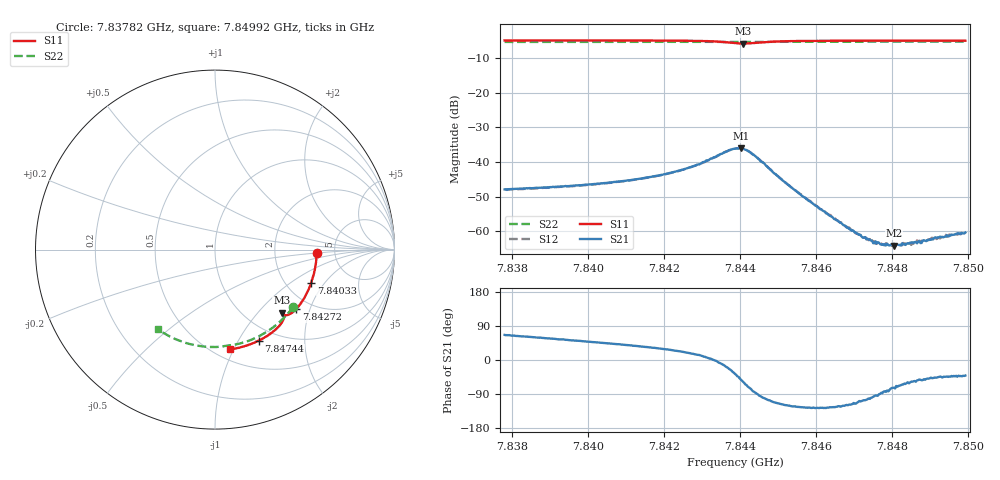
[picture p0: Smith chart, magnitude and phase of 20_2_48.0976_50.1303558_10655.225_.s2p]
#  HZ  S  RI  R  50.00
! Rohde & Schwarz Vector Network Analyzer
! Rohde-Schwarz,ZNB20-2Port,1311601062101988,3.16
! Created: UTC 12/23/2023, 3:36:34 AM
! freq[Hz]  re:S11  im:S11  re:S21  im:S21  re:S12  im:S12  re:S22  im:S22
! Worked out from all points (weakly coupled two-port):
!   401 points, 7.83782 GHz to 7.84992 GHz, reference 50 ohm
!   highest |S21| = -35.97 dB at 7.84402 GHz (marker M1); lowest = -64.1 dB at 7.84805 GHz (marker M2)
!   lowest |S11| = -5.8 dB at 7.84408 GHz (marker M3), VSWR 3.10, Z = 71.3 - j67.9 ohm
!   |S11| at or under -10 dB: nowhere
!   |S22| runs from -5.4 to -5.3 dB; largest |S21 - S12| = 0.00031
!   S11 on the Smith chart (normalised r, x): 7.83782 GHz: 3.60, -0.21; 7.84033 GHz: 2.72, -1.48; 7.84272 GHz: 1.68, -1.62; 7.84744 GHz: 0.82, -1.22; 7.84992 GHz: 0.60, -0.97
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7.837815e9  0.5665 -0.0195  0.00164 0.0037  0.00166 0.00366  0.436 -0.3185
7.839843e9  0.546 -0.1532  0.00301 0.00356  0.00298 0.00352  0.3386 -0.4216
7.840328e9  0.5363 -0.1844  0.00343 0.0035  0.00338 0.00348  0.3116 -0.4422
7.841115e9  0.516 -0.2342  0.00428 0.00343  0.00426 0.00342  0.2649 -0.4719
7.841872e9  0.4908 -0.2807  0.00555 0.00327  0.00548 0.00329  0.2175 -0.496
7.842719e9  0.4534 -0.3307  0.00814 0.00254  0.0081 0.00254  0.1617 -0.5168
7.843416e9  0.4075 -0.3635  0.0124 -0.00111  0.0124 -0.00109  0.1139 -0.5284
7.84387e9  0.3741 -0.36  0.0125 -0.0093  0.0127 -0.00931  0.0836 -0.5324
7.844021e9  0.3714 -0.3537  0.00991 -0.0124  0.00983 -0.0123  0.0742 -0.5338
7.844082e9  0.3724 -0.3514  0.00832 -0.0132  0.00827 -0.0132  0.0705 -0.5345
7.844384e9  0.383 -0.3563  0.00114 -0.0124  0.00118 -0.0125  0.0509 -0.538
7.845262e9  0.3657 -0.4161  -0.00237 -0.00408  -0.00239 -0.0041  -0.0106 -0.5429
7.845898e9  0.3333 -0.4494  -0.00153 -0.00207  -0.00151 -0.00211  -0.0554 -0.5408
7.846988e9  0.2709 -0.4927  -0.000405 -0.000936  -0.000447 -0.000911  -0.1311 -0.5285
7.847442e9  0.2438 -0.5072  -0.000128 -0.000732  -0.000132 -0.000703  -0.1617 -0.5202
7.847775e9  0.2233 -0.5167  7.4e-05 -0.000633  5.33e-05 -0.000641  -0.184 -0.5129
7.847926e9  0.214 -0.5207  0.000113 -0.000619  0.000119 -0.000619  -0.194 -0.5093
7.848047e9  0.2063 -0.5239  0.000181 -0.000599  0.000199 -0.000637  -0.202 -0.5063
7.848562e9  0.1739 -0.5356  0.000379 -0.000569  0.000366 -0.000557  -0.235 -0.4921
7.848713e9  0.1642 -0.5386  0.000452 -0.000568  0.000445 -0.000587  -0.2448 -0.4875
7.849198e9  0.133 -0.5471  0.000575 -0.000586  0.000575 -0.000556  -0.2747 -0.4716
7.849924e9  0.0854 -0.5562  0.000731 -0.000632  0.000719 -0.000657  -0.3178 -0.4441
